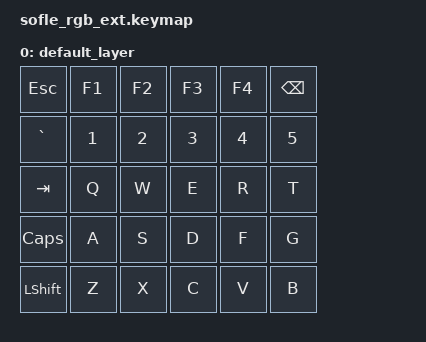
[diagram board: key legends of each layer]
// sofle_rgb_ext.keymap — includes an extra top row per half
// Adjust bindings to your preference

/ {
    keymap {
        compatible = "zmk,keymap";

        default_layer {
            bindings = <
                // NEW TOP ROW (row5): typically F-keys or macros
                &kp ESC     &kp F1   &kp F2   &kp F3   &kp F4   &kp BSPC
                // Original top row
                &kp GRAVE   &kp N1   &kp N2   &kp N3   &kp N4   &kp N5
                &kp TAB     &kp Q    &kp W    &kp E    &kp R    &kp T
                &kp CAPS    &kp A    &kp S    &kp D    &kp F    &kp G
                &kp LSHIFT  &kp Z    &kp X    &kp C    &kp V    &kp B
                // Thumb cluster should be added here depending on original Sofle mapping
            >;
        };
    };
};
